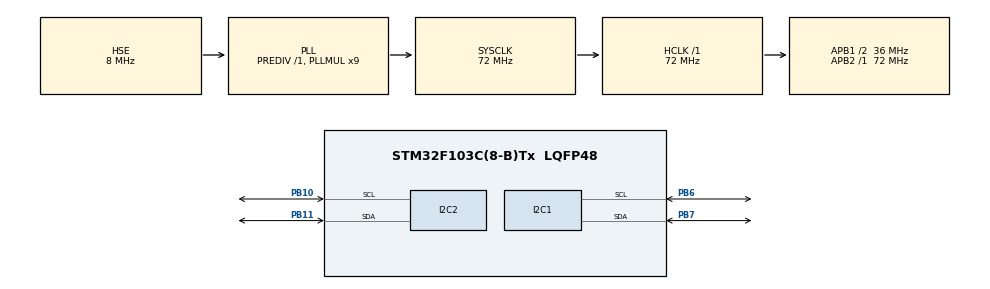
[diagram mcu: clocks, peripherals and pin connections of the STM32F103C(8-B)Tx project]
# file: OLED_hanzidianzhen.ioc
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Mcu.Family=STM32F1
Mcu.Name=STM32F103C(8-B)Tx
Mcu.Package=LQFP48
NVIC.PriorityGroup=NVIC_PRIORITYGROUP_4
PA13.Mode=Serial_Wire
PA13.Signal=SYS_JTMS-SWDIO
PA14.Mode=Serial_Wire
PA14.Signal=SYS_JTCK-SWCLK
PB10.Mode=I2C
PB10.Signal=I2C2_SCL
PB11.Mode=I2C
PB11.Signal=I2C2_SDA
PB6.Mode=I2C
PB6.Signal=I2C1_SCL
PB7.Mode=I2C
PB7.Signal=I2C1_SDA
PD0-OSC_IN.Mode=HSE-External-Oscillator
PD0-OSC_IN.Signal=RCC_OSC_IN
PD1-OSC_OUT.Mode=HSE-External-Oscillator
PD1-OSC_OUT.Signal=RCC_OSC_OUT
ProjectManager.HeapSize=0x200
ProjectManager.StackSize=0x400
ProjectManager.TargetToolchain=MDK-ARM V5.32
RCC.AHBFreq_Value=72000000
RCC.APB1CLKDivider=RCC_HCLK_DIV2
RCC.APB1Freq_Value=36000000
RCC.APB1TimFreq_Value=72000000
RCC.APB2Freq_Value=72000000
RCC.APB2TimFreq_Value=72000000
RCC.HCLKFreq_Value=72000000
RCC.PLLMUL=RCC_PLL_MUL9
RCC.PLLSourceVirtual=RCC_PLLSOURCE_HSE
RCC.SYSCLKFreq_VALUE=72000000
RCC.SYSCLKSource=RCC_SYSCLKSOURCE_PLLCLK
RCC.USBFreq_Value=72000000
board=custom

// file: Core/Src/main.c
/* USER CODE BEGIN Header */
/**
  ******************************************************************************
  * @file           : main.c
  * @brief          : Main program body
  ******************************************************************************
  * @attention
  *
  * Copyright (c) 2026 STMicroelectronics.
  * All rights reserved.
  *
  * This software is licensed under terms that can be found in the LICENSE file
  * in the root directory of this software component.
  * If no LICENSE file comes with this software, it is provided AS-IS.
  *
  ******************************************************************************
  */
/* USER CODE END Header */
#include "main.h"
#include "i2c.h"
#include "gpio.h"

/* USER CODE BEGIN Includes */
#include "oled.h"
#include "SHT30.h"
#include <stdio.h>
/* USER CODE END Includes */

/* USER CODE BEGIN PD */

/* 姓名与学号(按需修改这两处即可) */
#define MY_NAME    "张雅琳"
#define MY_ID      "632404310105"

/* 长句跑马灯内容 */
#define MARQUEE_TEXT "Hello，欢迎来到重庆交通大学物联网205实训室！"

/* USER CODE END PD */

void SystemClock_Config(void);

/* USER CODE BEGIN 0 */

/* 字符串水平居中显示在第 y 页 */
static void ShowCentered(uint8_t y, const char *s)
{
    uint16_t w = OLED_StrWidth(s);
    uint8_t x = (w < OLED_COLS) ? (uint8_t)((OLED_COLS - w) / 2) : 0;
    OLED_ShowStr(x, y, s);
}

/* 屏幕1: 显示学号和姓名 */
static void ShowIDName(void)
{
    OLED_Clear();
    ShowCentered(0, "学号:");
    ShowCentered(2, MY_ID);
    ShowCentered(4, "姓名:" MY_NAME);
    OLED_Refresh();
}

/* 屏幕2: 显示 SHT30 温湿度 */
static void ShowTH(void)
{
    float temp = 0.0f, humi = 0.0f;
    char buf[24];
    int t, h;

    OLED_Clear();
    if (SHT30_ReadData(&temp, &humi) == 0)
    {
        t = (int)(temp * 10.0f);                 /* 保留 1 位小数, 例如 25.3 -> 253 */
        h = (int)(humi * 10.0f);

        /* 温度(可能为负) */
        sprintf(buf, "温度:%c%d.%dC",
                t < 0 ? '-' : ' ', t < 0 ? (-t) / 10 : t / 10, t < 0 ? (-t) % 10 : t % 10);
        ShowCentered(1, buf);

        /* 湿度(恒为正值) */
        sprintf(buf, "湿度:%d.%d%%", h / 10, h % 10);
        ShowCentered(3, buf);
    }
    else
    {
        /* 传感器通信失败时显示占位 */
        ShowCentered(1, "温度:--.-C");
        ShowCentered(3, "湿度:--.-%");
    }
    OLED_Refresh();
}

/* USER CODE END 0 */

int main(void)
{

  /* MCU Configuration--------------------------------------------------------*/

  /* Reset of all peripherals, Initializes the Flash interface and the Systick. */
  HAL_Init();

  /* Configure the system clock */
  SystemClock_Config();

  /* Initialize all configured peripherals */
  MX_GPIO_Init();
  MX_I2C1_Init();
  MX_I2C2_Init();
  OLED_Init();
  SHT30_Init();

  /* Infinite loop */
  /* USER CODE BEGIN WHILE */
  while (1)
  {
    /* ---- ---- */
    ShowIDName();
    HAL_Delay(3000);

    /* ---- 幕2: SHT30 ---- */
    ShowTH();
    HAL_Delay(3000);

    /* ----  ---- */
    OLED_Clear();
    OLED_Marquee(MARQUEE_TEXT, 3, 20, 1);   /*  */
  }
  /* USER CODE END 3 */
}

void SystemClock_Config(void)
{
  RCC_OscInitTypeDef RCC_OscInitStruct = {0};
  RCC_ClkInitTypeDef RCC_ClkInitStruct = {0};

  /** Initializes the RCC Oscillators according to the specified parameters
  * in the RCC_OscInitTypeDef structure.
  */
  RCC_OscInitStruct.OscillatorType = RCC_OSCILLATORTYPE_HSE;
  RCC_OscInitStruct.HSEState = RCC_HSE_ON;
  RCC_OscInitStruct.HSEPredivValue = RCC_HSE_PREDIV_DIV1;
  RCC_OscInitStruct.HSIState = RCC_HSI_ON;
  RCC_OscInitStruct.PLL.PLLState = RCC_PLL_ON;
  RCC_OscInitStruct.PLL.PLLSource = RCC_PLLSOURCE_HSE;
  RCC_OscInitStruct.PLL.PLLMUL = RCC_PLL_MUL9;
  if (HAL_RCC_OscConfig(&RCC_OscInitStruct) != HAL_OK)
  {
    Error_Handler();
  }

  /** Initializes the CPU, AHB and APB buses clocks
  */
  RCC_ClkInitStruct.ClockType = RCC_CLOCKTYPE_HCLK|RCC_CLOCKTYPE_SYSCLK
                              |RCC_CLOCKTYPE_PCLK1|RCC_CLOCKTYPE_PCLK2;
  RCC_ClkInitStruct.SYSCLKSource = RCC_SYSCLKSOURCE_PLLCLK;
  RCC_ClkInitStruct.AHBCLKDivider = RCC_SYSCLK_DIV1;
  RCC_ClkInitStruct.APB1CLKDivider = RCC_HCLK_DIV2;
  RCC_ClkInitStruct.APB2CLKDivider = RCC_HCLK_DIV1;

  if (HAL_RCC_ClockConfig(&RCC_ClkInitStruct, FLASH_LATENCY_2) != HAL_OK)
  {
    Error_Handler();
  }
}

void Error_Handler(void)
{
  __disable_irq();
  while (1)
  {
  }
}
